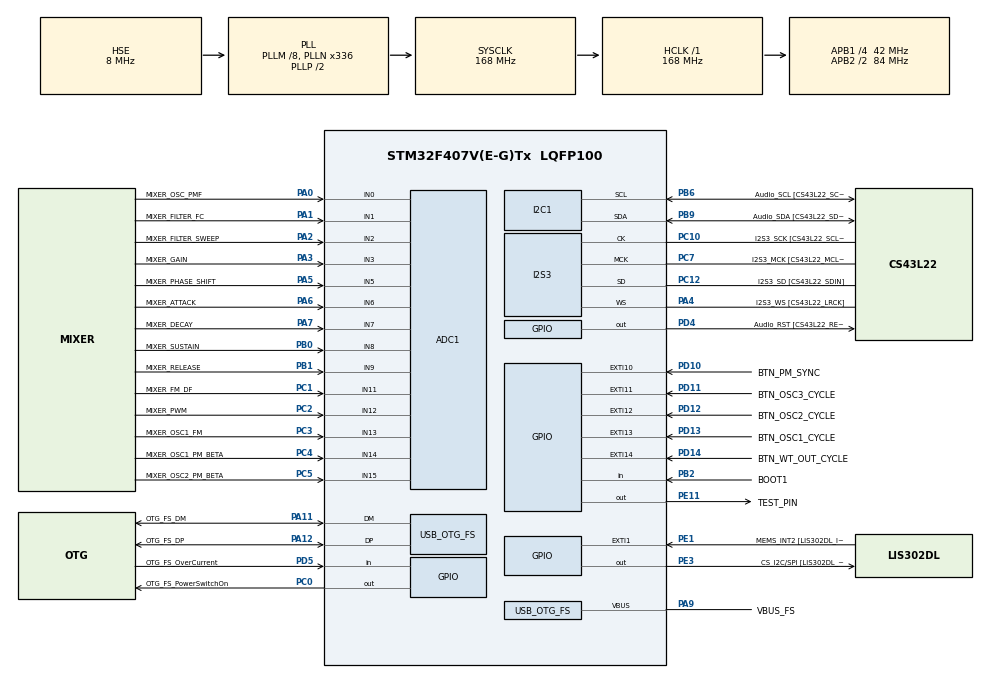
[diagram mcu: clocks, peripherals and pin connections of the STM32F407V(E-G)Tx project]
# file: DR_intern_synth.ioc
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ADC1.Channel-0\#ChannelRegularConversion=ADC_CHANNEL_1
ADC1.Channel-1\#ChannelRegularConversion=ADC_CHANNEL_2
ADC1.Channel-10\#ChannelRegularConversion=ADC_CHANNEL_13
ADC1.Channel-11\#ChannelRegularConversion=ADC_CHANNEL_14
ADC1.Channel-12\#ChannelRegularConversion=ADC_CHANNEL_15
ADC1.Channel-13\#ChannelRegularConversion=ADC_CHANNEL_0
ADC1.Channel-2\#ChannelRegularConversion=ADC_CHANNEL_3
ADC1.Channel-3\#ChannelRegularConversion=ADC_CHANNEL_5
ADC1.Channel-4\#ChannelRegularConversion=ADC_CHANNEL_6
ADC1.Channel-5\#ChannelRegularConversion=ADC_CHANNEL_7
ADC1.Channel-6\#ChannelRegularConversion=ADC_CHANNEL_8
ADC1.Channel-7\#ChannelRegularConversion=ADC_CHANNEL_9
ADC1.Channel-8\#ChannelRegularConversion=ADC_CHANNEL_11
ADC1.Channel-9\#ChannelRegularConversion=ADC_CHANNEL_12
ADC1.DMAContinuousRequests=ENABLE
ADC1.ExternalTrigConv=ADC_EXTERNALTRIGCONV_T3_TRGO
ADC1.NbrOfConversion=14
ADC1.NbrOfConversionFlag=1
ADC1.Rank-0\#ChannelRegularConversion=1
ADC1.Rank-1\#ChannelRegularConversion=2
ADC1.Rank-10\#ChannelRegularConversion=11
ADC1.Rank-11\#ChannelRegularConversion=12
ADC1.Rank-12\#ChannelRegularConversion=13
ADC1.Rank-13\#ChannelRegularConversion=14
ADC1.Rank-2\#ChannelRegularConversion=3
ADC1.Rank-3\#ChannelRegularConversion=4
ADC1.Rank-4\#ChannelRegularConversion=5
ADC1.Rank-5\#ChannelRegularConversion=6
ADC1.Rank-6\#ChannelRegularConversion=7
ADC1.Rank-7\#ChannelRegularConversion=8
ADC1.Rank-8\#ChannelRegularConversion=9
ADC1.Rank-9\#ChannelRegularConversion=10
ADC1.SamplingTime-0\#ChannelRegularConversion=ADC_SAMPLETIME_3CYCLES
ADC1.SamplingTime-1\#ChannelRegularConversion=ADC_SAMPLETIME_3CYCLES
ADC1.SamplingTime-10\#ChannelRegularConversion=ADC_SAMPLETIME_3CYCLES
ADC1.SamplingTime-11\#ChannelRegularConversion=ADC_SAMPLETIME_3CYCLES
ADC1.SamplingTime-12\#ChannelRegularConversion=ADC_SAMPLETIME_3CYCLES
ADC1.SamplingTime-13\#ChannelRegularConversion=ADC_SAMPLETIME_3CYCLES
ADC1.SamplingTime-2\#ChannelRegularConversion=ADC_SAMPLETIME_3CYCLES
ADC1.SamplingTime-3\#ChannelRegularConversion=ADC_SAMPLETIME_3CYCLES
ADC1.SamplingTime-4\#ChannelRegularConversion=ADC_SAMPLETIME_3CYCLES
ADC1.SamplingTime-5\#ChannelRegularConversion=ADC_SAMPLETIME_3CYCLES
ADC1.SamplingTime-6\#ChannelRegularConversion=ADC_SAMPLETIME_3CYCLES
ADC1.SamplingTime-7\#ChannelRegularConversion=ADC_SAMPLETIME_3CYCLES
ADC1.SamplingTime-8\#ChannelRegularConversion=ADC_SAMPLETIME_3CYCLES
ADC1.SamplingTime-9\#ChannelRegularConversion=ADC_SAMPLETIME_3CYCLES
ADC1.ScanConvMode=ENABLE
ADC1.master=1
Dma.ADC1.1.Direction=DMA_PERIPH_TO_MEMORY
Dma.ADC1.1.FIFOMode=DMA_FIFOMODE_DISABLE
Dma.ADC1.1.Instance=DMA2_Stream0
Dma.ADC1.1.MemDataAlignment=DMA_MDATAALIGN_HALFWORD
Dma.ADC1.1.MemInc=DMA_MINC_ENABLE
Dma.ADC1.1.Mode=DMA_CIRCULAR
Dma.ADC1.1.PeriphDataAlignment=DMA_PDATAALIGN_HALFWORD
Dma.ADC1.1.PeriphInc=DMA_PINC_DISABLE
Dma.ADC1.1.Priority=DMA_PRIORITY_LOW
Dma.Request0=SPI3_TX
Dma.Request1=ADC1
Dma.SPI3_TX.0.Direction=DMA_MEMORY_TO_PERIPH
Dma.SPI3_TX.0.FIFOMode=DMA_FIFOMODE_DISABLE
Dma.SPI3_TX.0.Instance=DMA1_Stream5
Dma.SPI3_TX.0.MemDataAlignment=DMA_MDATAALIGN_HALFWORD
Dma.SPI3_TX.0.MemInc=DMA_MINC_ENABLE
Dma.SPI3_TX.0.Mode=DMA_CIRCULAR
Dma.SPI3_TX.0.PeriphDataAlignment=DMA_PDATAALIGN_HALFWORD
Dma.SPI3_TX.0.PeriphInc=DMA_PINC_DISABLE
Dma.SPI3_TX.0.Priority=DMA_PRIORITY_LOW
I2S3.AudioFreq=I2S_AUDIOFREQ_22K
I2S3.AudioFreq-Half_Duplex_Master=I2S_AUDIOFREQ_96K
I2S3.ErrorAudioFreq=0.11 %
I2S3.ErrorAudioFreq-Half_Duplex_Master=0.8 %
I2S3.FullDuplexMode=I2S_FULLDUPLEXMODE_DISABLE
I2S3.Instance=SPI$Index
I2S3.RealAudioFreq=22.026 KHz
I2S3.RealAudioFreq-Half_Duplex_Master=96.774 KHz
I2S3.VirtualMode=I2S_MODE_MASTER
Mcu.Family=STM32F4
Mcu.Name=STM32F407V(E-G)Tx
Mcu.Package=LQFP100
NVIC.ADC_IRQn=true\:0\:0\:false\:false\:true\:true\:true\:true
NVIC.DMA1_Stream5_IRQn=true\:0\:0\:false\:false\:true\:false\:true\:true
NVIC.DMA2_Stream0_IRQn=true\:0\:0\:false\:false\:true\:false\:true\:true
NVIC.EXTI15_10_IRQn=true\:0\:0\:false\:false\:true\:true\:true\:true
NVIC.OTG_FS_IRQn=true\:0\:0\:false\:false\:true\:true\:true\:true
NVIC.PriorityGroup=NVIC_PRIORITYGROUP_0
NVIC.SPI3_IRQn=true\:0\:0\:false\:false\:true\:true\:true\:true
NVIC.TIM3_IRQn=true\:0\:0\:false\:false\:true\:true\:true\:true
NVIC.TIM7_IRQn=true\:0\:0\:false\:false\:true\:true\:true\:true
PA0-WKUP.GPIO_Label=MIXER_OSC_PMF
PA0-WKUP.Signal=ADCx_IN0
PA1.GPIO_Label=MIXER_FILTER_FC
PA1.Signal=ADCx_IN1
PA10.GPIO_Label=OTG_FS_ID
PA10.GPIO_Mode=GPIO_MODE_AF_PP
PA10.GPIO_PuPd=GPIO_NOPULL
PA10.GPIO_Speed=GPIO_SPEED_FREQ_LOW
PA10.Signal=USB_OTG_FS_ID
PA11.GPIO_Label=OTG_FS_DM
PA11.GPIO_Mode=GPIO_MODE_AF_PP
PA11.GPIO_PuPd=GPIO_NOPULL
PA11.GPIO_Speed=GPIO_SPEED_FREQ_LOW
PA11.Mode=Host_Only
PA11.Signal=USB_OTG_FS_DM
PA12.GPIO_Label=OTG_FS_DP
PA12.GPIO_Mode=GPIO_MODE_AF_PP
PA12.GPIO_PuPd=GPIO_NOPULL
PA12.GPIO_Speed=GPIO_SPEED_FREQ_LOW
PA12.Mode=Host_Only
PA12.Signal=USB_OTG_FS_DP
PA13.GPIO_Label=SWDIO
PA13.Mode=Serial_Wire
PA13.Signal=SYS_JTMS-SWDIO
PA14.GPIO_Label=SWCLK
PA14.Mode=Serial_Wire
PA14.Signal=SYS_JTCK-SWCLK
PA2.GPIO_Label=MIXER_FILTER_SWEEP
PA2.Signal=ADCx_IN2
PA3.GPIO_Label=MIXER_GAIN
PA3.Signal=ADCx_IN3
PA4.GPIO_Label=I2S3_WS [CS43L22_LRCK]
PA4.GPIO_Mode=GPIO_MODE_AF_PP
PA4.GPIO_PuPd=GPIO_NOPULL
PA4.GPIO_Speed=GPIO_SPEED_FREQ_LOW
PA4.Mode=Half_Duplex_Master
PA4.Signal=I2S3_WS
PA5.GPIO_Label=MIXER_PHASE_SHIFT
PA5.Signal=ADCx_IN5
PA6.GPIO_Label=MIXER_ATTACK
PA6.Signal=ADCx_IN6
PA7.GPIO_Label=MIXER_DECAY
PA7.Signal=ADCx_IN7
PA9.GPIO_Label=VBUS_FS
PA9.GPIO_Mode=GPIO_MODE_INPUT
PA9.GPIO_PuPd=GPIO_NOPULL
PA9.Mode=Activate_VBUS
PA9.Signal=USB_OTG_FS_VBUS
PB0.GPIO_Label=MIXER_SUSTAIN
PB0.Signal=ADCx_IN8
PB1.GPIO_Label=MIXER_RELEASE
PB1.Signal=ADCx_IN9
PB10.GPIO_Label=CLK_IN [MP45DT02_CLK]
PB10.GPIO_Mode=GPIO_MODE_AF_PP
PB10.GPIO_PuPd=GPIO_NOPULL
PB10.GPIO_Speed=GPIO_SPEED_FREQ_LOW
PB10.Signal=I2S2_CK
PB2.GPIO_Label=BOOT1
PB2.GPIO_Mode=GPIO_MODE_INPUT
PB2.GPIO_PuPd=GPIO_NOPULL
PB2.Signal=GPIO_Input
PB3.GPIO_Label=SWO
PB3.Signal=SYS_JTDO-SWO
PB6.GPIO_Label=Audio_SCL [CS43L22_SCL]
PB6.GPIO_Mode=GPIO_MODE_AF_OD
PB6.GPIO_Pu=GPIO_PULLUP
PB6.GPIO_PuPd=GPIO_NOPULL
PB6.GPIO_Speed=GPIO_SPEED_FREQ_LOW
PB6.Mode=I2C
PB6.Signal=I2C1_SCL
PB9.GPIO_Label=Audio_SDA [CS43L22_SDA]
PB9.GPIO_Mode=GPIO_MODE_AF_OD
PB9.GPIO_Pu=GPIO_PULLUP
PB9.GPIO_PuPd=GPIO_NOPULL
PB9.GPIO_Speed=GPIO_SPEED_FREQ_LOW
PB9.Mode=I2C
PB9.Signal=I2C1_SDA
PC0.GPIO_Label=OTG_FS_PowerSwitchOn
PC0.GPIO_PuPd=GPIO_NOPULL
PC0.GPIO_Speed=GPIO_SPEED_FREQ_LOW
PC0.PinState=GPIO_PIN_SET
PC0.Signal=GPIO_Output
PC1.GPIO_Label=MIXER_FM_DF
PC1.Signal=ADCx_IN11
PC10.GPIO_Label=I2S3_SCK [CS43L22_SCLK]
PC10.GPIO_Mode=GPIO_MODE_AF_PP
PC10.GPIO_PuPd=GPIO_NOPULL
PC10.GPIO_Speed=GPIO_SPEED_FREQ_LOW
PC10.Mode=Half_Duplex_Master
PC10.Signal=I2S3_CK
PC12.GPIO_Label=I2S3_SD [CS43L22_SDIN]
PC12.GPIO_Mode=GPIO_MODE_AF_PP
PC12.GPIO_PuPd=GPIO_NOPULL
PC12.GPIO_Speed=GPIO_SPEED_FREQ_LOW
PC12.Mode=Half_Duplex_Master
PC12.Signal=I2S3_SD
PC14-OSC32_IN.GPIO_Label=PC14-OSC32_IN
PC14-OSC32_IN.Mode=LSE-External-Oscillator
PC14-OSC32_IN.Signal=RCC_OSC32_IN
PC15-OSC32_OUT.GPIO_Label=PC15-OSC32_OUT
PC15-OSC32_OUT.Mode=LSE-External-Oscillator
PC15-OSC32_OUT.Signal=RCC_OSC32_OUT
PC2.GPIO_Label=MIXER_PWM
PC2.Signal=ADCx_IN12
PC3.GPIO_Label=MIXER_OSC1_FM
PC3.Signal=ADCx_IN13
PC4.GPIO_Label=MIXER_OSC1_PM_BETA
PC4.Signal=ADCx_IN14
PC5.GPIO_Label=MIXER_OSC2_PM_BETA
PC5.Signal=ADCx_IN15
PC7.GPIO_Label=I2S3_MCK [CS43L22_MCLK]
PC7.GPIO_Mode=GPIO_MODE_AF_PP
PC7.GPIO_PuPd=GPIO_NOPULL
PC7.GPIO_Speed=GPIO_SPEED_FREQ_LOW
PC7.Mode=Master_Clock_Activated
PC7.Signal=I2S3_MCK
PD10.GPIO_Label=BTN_PM_SYNC
PD10.GPIO_PuPd=GPIO_PULLUP
PD10.Signal=GPXTI10
PD11.GPIO_Label=BTN_OSC3_CYCLE
PD11.GPIO_ModeDefaultEXTI=GPIO_MODE_IT_FALLING
PD11.GPIO_PuPd=GPIO_PULLUP
PD11.Signal=GPXTI11
PD12.GPIO_Label=BTN_OSC2_CYCLE
PD12.GPIO_ModeDefaultEXTI=GPIO_MODE_IT_FALLING
PD12.GPIO_PuPd=GPIO_PULLUP
PD12.Signal=GPXTI12
PD13.GPIO_Label=BTN_OSC1_CYCLE
PD13.GPIO_ModeDefaultEXTI=GPIO_MODE_IT_FALLING
PD13.GPIO_PuPd=GPIO_PULLUP
PD13.Signal=GPXTI13
PD14.GPIO_Label=BTN_WT_OUT_CYCLE
PD14.GPIO_ModeDefaultEXTI=GPIO_MODE_IT_FALLING
PD14.GPIO_PuPd=GPIO_PULLUP
PD14.Signal=GPXTI14
PD4.GPIO_Label=Audio_RST [CS43L22_RESET]
PD4.GPIO_PuPd=GPIO_NOPULL
PD4.GPIO_Speed=GPIO_SPEED_FREQ_LOW
PD4.Signal=GPIO_Output
PD5.GPIO_Label=OTG_FS_OverCurrent
PD5.GPIO_Mode=GPIO_MODE_INPUT
PD5.GPIO_PuPd=GPIO_NOPULL
PD5.Signal=GPIO_Input
PE1.GPIO_Label=MEMS_INT2 [LIS302DL_INT2]
PE1.GPIO_ModeDefaultEXTI=GPIO_MODE_EVT_RISING
PE1.GPIO_PuPd=GPIO_NOPULL
PE1.Signal=GPXTI1
PE11.GPIO_Label=TEST_PIN
PE11.Signal=GPIO_Output
PE3.GPIO_Label=CS_I2C/SPI [LIS302DL_CS_I2C/SPI]
PE3.GPIO_PuPd=GPIO_NOPULL
PE3.GPIO_Speed=GPIO_SPEED_FREQ_LOW
PE3.Signal=GPIO_Output
PH0-OSC_IN.GPIO_Label=PH0-OSC_IN
PH0-OSC_IN.Mode=HSE-External-Oscillator
PH0-OSC_IN.Signal=RCC_OSC_IN
PH1-OSC_OUT.GPIO_Label=PH1-OSC_OUT
PH1-OSC_OUT.Mode=HSE-External-Oscillator
PH1-OSC_OUT.Signal=RCC_OSC_OUT
ProjectManager.HeapSize=0x200
ProjectManager.StackSize=0x400
ProjectManager.TargetToolchain=STM32CubeIDE
RCC.48MHZClocksFreq_Value=48000000
RCC.AHBFreq_Value=168000000
RCC.APB1CLKDivider=RCC_HCLK_DIV4
RCC.APB1Freq_Value=42000000
RCC.APB1TimFreq_Value=84000000
RCC.APB2CLKDivider=RCC_HCLK_DIV2
RCC.APB2Freq_Value=84000000
RCC.APB2TimFreq_Value=168000000
RCC.CortexFreq_Value=168000000
RCC.HCLKFreq_Value=168000000
RCC.HSE_VALUE=8000000
RCC.HSI_VALUE=16000000
RCC.PLLI2SN=203
RCC.PLLM=8
RCC.PLLN=336
RCC.PLLQ=7
RCC.SYSCLKFreq_VALUE=168000000
RCC.SYSCLKSource=RCC_SYSCLKSOURCE_PLLCLK
RCC.VCOOutputFreq_Value=336000000
SH.ADCx_IN0.0=ADC1_IN0,IN0
SH.ADCx_IN1.0=ADC1_IN1,IN1
SH.ADCx_IN11.0=ADC1_IN11,IN11
SH.ADCx_IN12.0=ADC1_IN12,IN12
SH.ADCx_IN13.0=ADC1_IN13,IN13
SH.ADCx_IN14.0=ADC1_IN14,IN14
SH.ADCx_IN15.0=ADC1_IN15,IN15
SH.ADCx_IN2.0=ADC1_IN2,IN2
SH.ADCx_IN3.0=ADC1_IN3,IN3
SH.ADCx_IN5.0=ADC1_IN5,IN5
SH.ADCx_IN6.0=ADC1_IN6,IN6
SH.ADCx_IN7.0=ADC1_IN7,IN7
SH.ADCx_IN8.0=ADC1_IN8,IN8
SH.ADCx_IN9.0=ADC1_IN9,IN9
TIM3.Channel-Output\ Compare1\ No\ Output=TIM_CHANNEL_1
TIM3.Prescaler=8
TIM3.TIM_MasterOutputTrigger=TIM_TRGO_UPDATE
TIM7.Period=200-1
TIM7.Prescaler=168-1
TIM7.TIM_MasterOutputTrigger=TIM_TRGO_UPDATE
USB_HOST.BSP.number=1
USB_HOST.USBH_HandleTypeDef-AUDIO_FS=hUsbHostFS
USB_HOST.USBH_MAX_NUM_ENDPOINTS-AUDIO_FS=2
USB_HOST.USBH_MAX_NUM_INTERFACES-AUDIO_FS=1
USB_HOST.VirtualModeFS=Audio
USB_HOST0.BSP.STBoard=false
USB_HOST0.BSP.api=Unknown
USB_HOST0.BSP.instance=PC0
USB_HOST0.BSP.ip=GPIO
USB_HOST0.BSP.mode=Output
USB_HOST0.BSP.name=Drive_VBUS_FS
USB_HOST0.BSP.solution=PC0
USB_OTG_FS.VirtualMode=Host_Only
USB_OTG_FS.phy_itface=HCD_PHY_EMBEDDED
VP_TIM3_VS_no_output1.Mode=Output Compare1 No Output
VP_TIM7_VS_ClockSourceINT.Mode=Enable_Timer
VP_USB_HOST_VS_USB_HOST_AUDIO_FS.Mode=AUDIO_FS
board=STM32F407G-DISC1

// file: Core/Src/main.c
/* USER CODE BEGIN Header */
/**
 ******************************************************************************
 * @file           : main.c
 * @brief          : Main program body
 ******************************************************************************
 * @attention
 *
 * Copyright (c) 2022 STMicroelectronics.
 * All rights reserved.
 *
 * This software is licensed under terms that can be found in the LICENSE file
 * in the root directory of this software component.
 * If no LICENSE file comes with this software, it is provided AS-IS.
 *
 ******************************************************************************
 */
/* USER CODE END Header */
#include "main.h"
#include "usb_host.h"

/* USER CODE BEGIN Includes */

#include "usb_host.h"
#include "wavetable.h"
#include "MY_CS43L22.h"
#include "filter.h"
#include "modulator.h"
#include "usbh_MIDI.h"
#include "MIDI_application.h"
#include "output_handler.h"
#include "envelope.h"

/* USER CODE END Includes */

/* USER CODE BEGIN PD */
#define REF_V_ANALOG 			2.90
#define N_SAMPLES 				255
//#define USB_ENDPOINT_DESC_SIZE	0x09U //ignore warning, needed for MIDI compatibility
/* USER CODE END PD */

ADC_HandleTypeDef hadc1;
DMA_HandleTypeDef hdma_adc1;

I2C_HandleTypeDef hi2c1;

I2S_HandleTypeDef hi2s3;
DMA_HandleTypeDef hdma_spi3_tx;

TIM_HandleTypeDef htim3;
TIM_HandleTypeDef htim7;

/* USER CODE BEGIN PV */

#define I2S_OUT_N N_WT_SAMPLES

#define I2S_OUT_NHALF N_WT_SAMPLES>>1
uint16_t i2s_out[I2S_OUT_N];

bool i2s_tx_cplt = false;
bool i2s_tx_half = false;

/* USER CODE END PV */

void SystemClock_Config(void);
static void MX_GPIO_Init(void);
static void MX_DMA_Init(void);
static void MX_TIM3_Init(void);
static void MX_TIM7_Init(void);
void MX_USB_HOST_Process(void);

int main(void)
{
  /* USER CODE BEGIN 1 */

	//	float output = 0;
  /* USER CODE END 1 */

  /* MCU Configuration--------------------------------------------------------*/

  /* Reset of all peripherals, Initializes the Flash interface and the Systick. */
  HAL_Init();

  /* Configure the system clock */
  SystemClock_Config();

  /* Initialize all configured peripherals */
  MX_GPIO_Init();
  MX_DMA_Init();
  MX_I2C1_Init();
  MX_USB_HOST_Init();
  MX_ADC1_Init();
  MX_I2S3_Init();
  MX_TIM3_Init();
  MX_TIM7_Init();
  /* USER CODE BEGIN 2 */

	CS43_Init(hi2c1, MODE_I2S);
	CS43_Enable_RightLeft(CS43_RIGHT_LEFT);
	CS43_SetVolume(1);
	CS43_Start();

	wavetable_init_all();

	HAL_StatusTypeDef tx_init_status = HAL_I2S_Transmit_DMA(&hi2s3, (uint16_t*)i2s_out, N_WT_SAMPLES);

	HAL_GPIO_TogglePin(GPIOC, GPIO_PIN_0);

	mixer_init(&hadc1, &htim3);

	filter_lp_RC_init(1, DELTA_T_DEFAULT);

	filter_hp_RC_init(1, DELTA_T_DEFAULT);

	filter_res_init();

	output_handler_init();

	ws_enum wave_shape;

	while(env_update_ADSR()) {
		//wait for ADSR
	}

  /* USER CODE END 2 */

  /* Infinite loop */
	while (1)
	{
    MX_USB_HOST_Process();

    /* USER CODE BEGIN 3 */
	MIDI_Application();
	MIDI_update_input(output_handler_get_steps());

		if (i2s_tx_half) {
			wave_shape = mixer_get_waveshape_out();

			if (wave_shape == SINE) {
				output_handler_outwave_update(i2s_out, 0, I2S_OUT_NHALF, wavetable_get_ptr(SINE));
			}
			else if (wave_shape == SQUARE) {
				output_handler_outwave_update(i2s_out, 0, I2S_OUT_NHALF, wavetable_get_ptr(SQUARE));
			}
			else if (wave_shape == TRIANGLE) {
				output_handler_outwave_update(i2s_out, 0, I2S_OUT_NHALF, wavetable_get_ptr(TRIANGLE));
			}
			else if (wave_shape == SAWTOOTH) {
				output_handler_outwave_update(i2s_out, 0, I2S_OUT_NHALF, wavetable_get_ptr(SAWTOOTH));
			}
			i2s_tx_half = false;
		}

		else if (i2s_tx_cplt) {
			wave_shape = mixer_get_waveshape_out();

			if (wave_shape == SINE) {
				output_handler_outwave_update(i2s_out, I2S_OUT_NHALF, I2S_OUT_N, wavetable_get_ptr(SINE));
			}
			else if (wave_shape == SQUARE) {
				output_handler_outwave_update(i2s_out, I2S_OUT_NHALF, I2S_OUT_N, wavetable_get_ptr(SQUARE));
			}
			else if (wave_shape == TRIANGLE) {
				output_handler_outwave_update(i2s_out, I2S_OUT_NHALF, I2S_OUT_N, wavetable_get_ptr(TRIANGLE));
			}
			else if (wave_shape == SAWTOOTH) {
				output_handler_outwave_update(i2s_out, I2S_OUT_NHALF, I2S_OUT_N, wavetable_get_ptr(SAWTOOTH));
			}
			i2s_tx_cplt = false;
		} else {
			filter_update(); //NOTE: Filter needs to update BEFORE mixer
			mixer_update();
			env_update_ADSR();
		}

	}
  /* USER CODE END 3 */
}

void SystemClock_Config(void)
{
  RCC_OscInitTypeDef RCC_OscInitStruct = {0};
  RCC_ClkInitTypeDef RCC_ClkInitStruct = {0};

  /** Configure the main internal regulator output voltage
  */
  __HAL_RCC_PWR_CLK_ENABLE();
  __HAL_PWR_VOLTAGESCALING_CONFIG(PWR_REGULATOR_VOLTAGE_SCALE1);

  /** Initializes the RCC Oscillators according to the specified parameters
  * in the RCC_OscInitTypeDef structure.
  */
  RCC_OscInitStruct.OscillatorType = RCC_OSCILLATORTYPE_HSE;
  RCC_OscInitStruct.HSEState = RCC_HSE_ON;
  RCC_OscInitStruct.PLL.PLLState = RCC_PLL_ON;
  RCC_OscInitStruct.PLL.PLLSource = RCC_PLLSOURCE_HSE;
  RCC_OscInitStruct.PLL.PLLM = 8;
  RCC_OscInitStruct.PLL.PLLN = 336;
  RCC_OscInitStruct.PLL.PLLP = RCC_PLLP_DIV2;
  RCC_OscInitStruct.PLL.PLLQ = 7;
  if (HAL_RCC_OscConfig(&RCC_OscInitStruct) != HAL_OK)
  {
    Error_Handler();
  }

  /** Initializes the CPU, AHB and APB buses clocks
  */
  RCC_ClkInitStruct.ClockType = RCC_CLOCKTYPE_HCLK|RCC_CLOCKTYPE_SYSCLK
                              |RCC_CLOCKTYPE_PCLK1|RCC_CLOCKTYPE_PCLK2;
  RCC_ClkInitStruct.SYSCLKSource = RCC_SYSCLKSOURCE_PLLCLK;
  RCC_ClkInitStruct.AHBCLKDivider = RCC_SYSCLK_DIV1;
  RCC_ClkInitStruct.APB1CLKDivider = RCC_HCLK_DIV4;
  RCC_ClkInitStruct.APB2CLKDivider = RCC_HCLK_DIV2;

  if (HAL_RCC_ClockConfig(&RCC_ClkInitStruct, FLASH_LATENCY_5) != HAL_OK)
  {
    Error_Handler();
  }
}

void MX_ADC1_Init(void)
{

  ADC_ChannelConfTypeDef sConfig = {0};

  /** Configure the global features of the ADC (Clock, Resolution, Data Alignment and number of conversion)
  */
  hadc1.Instance = ADC1;
  hadc1.Init.ClockPrescaler = ADC_CLOCK_SYNC_PCLK_DIV4;
  hadc1.Init.Resolution = ADC_RESOLUTION_12B;
  hadc1.Init.ScanConvMode = ENABLE;
  hadc1.Init.ContinuousConvMode = DISABLE;
  hadc1.Init.DiscontinuousConvMode = DISABLE;
  hadc1.Init.ExternalTrigConvEdge = ADC_EXTERNALTRIGCONVEDGE_RISING;
  hadc1.Init.ExternalTrigConv = ADC_EXTERNALTRIGCONV_T3_TRGO;
  hadc1.Init.DataAlign = ADC_DATAALIGN_RIGHT;
  hadc1.Init.NbrOfConversion = 14;
  hadc1.Init.DMAContinuousRequests = ENABLE;
  hadc1.Init.EOCSelection = ADC_EOC_SINGLE_CONV;
  if (HAL_ADC_Init(&hadc1) != HAL_OK)
  {
    Error_Handler();
  }

  /** Configure for the selected ADC regular channel its corresponding rank in the sequencer and its sample time.
  */
  sConfig.Channel = ADC_CHANNEL_1;
  sConfig.Rank = 1;
  sConfig.SamplingTime = ADC_SAMPLETIME_3CYCLES;
  if (HAL_ADC_ConfigChannel(&hadc1, &sConfig) != HAL_OK)
  {
    Error_Handler();
  }

  /** Configure for the selected ADC regular channel its corresponding rank in the sequencer and its sample time.
  */
  sConfig.Channel = ADC_CHANNEL_2;
  sConfig.Rank = 2;
  if (HAL_ADC_ConfigChannel(&hadc1, &sConfig) != HAL_OK)
  {
    Error_Handler();
  }

  /** Configure for the selected ADC regular channel its corresponding rank in the sequencer and its sample time.
  */
  sConfig.Channel = ADC_CHANNEL_3;
  sConfig.Rank = 3;
  if (HAL_ADC_ConfigChannel(&hadc1, &sConfig) != HAL_OK)
  {
    Error_Handler();
  }

  /** Configure for the selected ADC regular channel its corresponding rank in the sequencer and its sample time.
  */
  sConfig.Channel = ADC_CHANNEL_5;
  sConfig.Rank = 4;
  if (HAL_ADC_ConfigChannel(&hadc1, &sConfig) != HAL_OK)
  {
    Error_Handler();
  }

  /** Configure for the selected ADC regular channel its corresponding rank in the sequencer and its sample time.
  */
  sConfig.Channel = ADC_CHANNEL_6;
  sConfig.Rank = 5;
  if (HAL_ADC_ConfigChannel(&hadc1, &sConfig) != HAL_OK)
  {
    Error_Handler();
  }

  /** Configure for the selected ADC regular channel its corresponding rank in the sequencer and its sample time.
  */
  sConfig.Channel = ADC_CHANNEL_7;
  sConfig.Rank = 6;
  if (HAL_ADC_ConfigChannel(&hadc1, &sConfig) != HAL_OK)
  {
    Error_Handler();
  }

  /** Configure for the selected ADC regular channel its corresponding rank in the sequencer and its sample time.
  */
  sConfig.Channel = ADC_CHANNEL_8;
  sConfig.Rank = 7;
  if (HAL_ADC_ConfigChannel(&hadc1, &sConfig) != HAL_OK)
  {
    Error_Handler();
  }

  /** Configure for the selected ADC regular channel its corresponding rank in the sequencer and its sample time.
  */
  sConfig.Channel = ADC_CHANNEL_9;
  sConfig.Rank = 8;
  if (HAL_ADC_ConfigChannel(&hadc1, &sConfig) != HAL_OK)
  {
    Error_Handler();
  }

  /** Configure for the selected ADC regular channel its corresponding rank in the sequencer and its sample time.
  */
  sConfig.Channel = ADC_CHANNEL_11;
  sConfig.Rank = 9;
  if (HAL_ADC_ConfigChannel(&hadc1, &sConfig) != HAL_OK)
  {
    Error_Handler();
  }

  /** Configure for the selected ADC regular channel its corresponding rank in the sequencer and its sample time.
  */
  sConfig.Channel = ADC_CHANNEL_12;
  sConfig.Rank = 10;
  if (HAL_ADC_ConfigChannel(&hadc1, &sConfig) != HAL_OK)
  {
    Error_Handler();
  }

  /** Configure for the selected ADC regular channel its corresponding rank in the sequencer and its sample time.
  */
  sConfig.Channel = ADC_CHANNEL_13;
  sConfig.Rank = 11;
  if (HAL_ADC_ConfigChannel(&hadc1, &sConfig) != HAL_OK)
  {
    Error_Handler();
  }

  /** Configure for the selected ADC regular channel its corresponding rank in the sequencer and its sample time.
  */
  sConfig.Channel = ADC_CHANNEL_14;
  sConfig.Rank = 12;
  if (HAL_ADC_ConfigChannel(&hadc1, &sConfig) != HAL_OK)
  {
    Error_Handler();
  }

  /** Configure for the selected ADC regular channel its corresponding rank in the sequencer and its sample time.
  */
  sConfig.Channel = ADC_CHANNEL_15;
  sConfig.Rank = 13;
  if (HAL_ADC_ConfigChannel(&hadc1, &sConfig) != HAL_OK)
  {
    Error_Handler();
  }

  /** Configure for the selected ADC regular channel its corresponding rank in the sequencer and its sample time.
  */
  sConfig.Channel = ADC_CHANNEL_0;
  sConfig.Rank = 14;
  if (HAL_ADC_ConfigChannel(&hadc1, &sConfig) != HAL_OK)
  {
    Error_Handler();
  }

}

void MX_I2C1_Init(void)
{

  hi2c1.Instance = I2C1;
  hi2c1.Init.ClockSpeed = 100000;
  hi2c1.Init.DutyCycle = I2C_DUTYCYCLE_2;
  hi2c1.Init.OwnAddress1 = 0;
  hi2c1.Init.AddressingMode = I2C_ADDRESSINGMODE_7BIT;
  hi2c1.Init.DualAddressMode = I2C_DUALADDRESS_DISABLE;
  hi2c1.Init.OwnAddress2 = 0;
  hi2c1.Init.GeneralCallMode = I2C_GENERALCALL_DISABLE;
  hi2c1.Init.NoStretchMode = I2C_NOSTRETCH_DISABLE;
  if (HAL_I2C_Init(&hi2c1) != HAL_OK)
  {
    Error_Handler();
  }

}

void MX_I2S3_Init(void)
{

  hi2s3.Instance = SPI3;
  hi2s3.Init.Mode = I2S_MODE_MASTER_TX;
  hi2s3.Init.Standard = I2S_STANDARD_PHILIPS;
  hi2s3.Init.DataFormat = I2S_DATAFORMAT_16B;
  hi2s3.Init.MCLKOutput = I2S_MCLKOUTPUT_ENABLE;
  hi2s3.Init.AudioFreq = I2S_AUDIOFREQ_22K;
  hi2s3.Init.CPOL = I2S_CPOL_LOW;
  hi2s3.Init.ClockSource = I2S_CLOCK_PLL;
  hi2s3.Init.FullDuplexMode = I2S_FULLDUPLEXMODE_DISABLE;
  if (HAL_I2S_Init(&hi2s3) != HAL_OK)
  {
    Error_Handler();
  }

}

static void MX_TIM3_Init(void)
{

  TIM_MasterConfigTypeDef sMasterConfig = {0};
  TIM_OC_InitTypeDef sConfigOC = {0};

  htim3.Instance = TIM3;
  htim3.Init.Prescaler = 8;
  htim3.Init.CounterMode = TIM_COUNTERMODE_UP;
  htim3.Init.Period = 65535;
  htim3.Init.ClockDivision = TIM_CLOCKDIVISION_DIV1;
  htim3.Init.AutoReloadPreload = TIM_AUTORELOAD_PRELOAD_DISABLE;
  if (HAL_TIM_OC_Init(&htim3) != HAL_OK)
  {
    Error_Handler();
  }
  sMasterConfig.MasterOutputTrigger = TIM_TRGO_UPDATE;
  sMasterConfig.MasterSlaveMode = TIM_MASTERSLAVEMODE_DISABLE;
  if (HAL_TIMEx_MasterConfigSynchronization(&htim3, &sMasterConfig) != HAL_OK)
  {
    Error_Handler();
  }
  sConfigOC.OCMode = TIM_OCMODE_TIMING;
  sConfigOC.Pulse = 0;
  sConfigOC.OCPolarity = TIM_OCPOLARITY_HIGH;
  sConfigOC.OCFastMode = TIM_OCFAST_DISABLE;
  if (HAL_TIM_OC_ConfigChannel(&htim3, &sConfigOC, TIM_CHANNEL_1) != HAL_OK)
  {
    Error_Handler();
  }

}

static void MX_TIM7_Init(void)
{

  TIM_MasterConfigTypeDef sMasterConfig = {0};

  htim7.Instance = TIM7;
  htim7.Init.Prescaler = 168-1;
  htim7.Init.CounterMode = TIM_COUNTERMODE_UP;
  htim7.Init.Period = 200-1;
  htim7.Init.AutoReloadPreload = TIM_AUTORELOAD_PRELOAD_DISABLE;
  if (HAL_TIM_Base_Init(&htim7) != HAL_OK)
  {
    Error_Handler();
  }
  sMasterConfig.MasterOutputTrigger = TIM_TRGO_UPDATE;
  sMasterConfig.MasterSlaveMode = TIM_MASTERSLAVEMODE_DISABLE;
  if (HAL_TIMEx_MasterConfigSynchronization(&htim7, &sMasterConfig) != HAL_OK)
  {
    Error_Handler();
  }

}

static void MX_DMA_Init(void)
{

  /* DMA controller clock enable */
  __HAL_RCC_DMA1_CLK_ENABLE();
  __HAL_RCC_DMA2_CLK_ENABLE();

  /* DMA interrupt init */
  /* DMA1_Stream5_IRQn interrupt configuration */
  HAL_NVIC_SetPriority(DMA1_Stream5_IRQn, 0, 0);
  HAL_NVIC_EnableIRQ(DMA1_Stream5_IRQn);
  /* DMA2_Stream0_IRQn interrupt configuration */
  HAL_NVIC_SetPriority(DMA2_Stream0_IRQn, 0, 0);
  HAL_NVIC_EnableIRQ(DMA2_Stream0_IRQn);

}

static void MX_GPIO_Init(void)
{
  GPIO_InitTypeDef GPIO_InitStruct = {0};

  /* GPIO Ports Clock Enable */
  __HAL_RCC_GPIOE_CLK_ENABLE();
  __HAL_RCC_GPIOC_CLK_ENABLE();
  __HAL_RCC_GPIOH_CLK_ENABLE();
  __HAL_RCC_GPIOA_CLK_ENABLE();
  __HAL_RCC_GPIOB_CLK_ENABLE();
  __HAL_RCC_GPIOD_CLK_ENABLE();

  /*Configure GPIO pin Output Level */
  HAL_GPIO_WritePin(GPIOE, CS_I2C_SPI_Pin|TEST_PIN_Pin, GPIO_PIN_RESET);

  /*Configure GPIO pin Output Level */
  HAL_GPIO_WritePin(OTG_FS_PowerSwitchOn_GPIO_Port, OTG_FS_PowerSwitchOn_Pin, GPIO_PIN_SET);

  /*Configure GPIO pin Output Level */
  HAL_GPIO_WritePin(Audio_RST_GPIO_Port, Audio_RST_Pin, GPIO_PIN_RESET);

  /*Configure GPIO pins : CS_I2C_SPI_Pin TEST_PIN_Pin */
  GPIO_InitStruct.Pin = CS_I2C_SPI_Pin|TEST_PIN_Pin;
  GPIO_InitStruct.Mode = GPIO_MODE_OUTPUT_PP;
  GPIO_InitStruct.Pull = GPIO_NOPULL;
  GPIO_InitStruct.Speed = GPIO_SPEED_FREQ_LOW;
  HAL_GPIO_Init(GPIOE, &GPIO_InitStruct);

  /*Configure GPIO pin : OTG_FS_PowerSwitchOn_Pin */
  GPIO_InitStruct.Pin = OTG_FS_PowerSwitchOn_Pin;
  GPIO_InitStruct.Mode = GPIO_MODE_OUTPUT_PP;
  GPIO_InitStruct.Pull = GPIO_NOPULL;
  GPIO_InitStruct.Speed = GPIO_SPEED_FREQ_LOW;
  HAL_GPIO_Init(OTG_FS_PowerSwitchOn_GPIO_Port, &GPIO_InitStruct);

  /*Configure GPIO pin : BOOT1_Pin */
  GPIO_InitStruct.Pin = BOOT1_Pin;
  GPIO_InitStruct.Mode = GPIO_MODE_INPUT;
  GPIO_InitStruct.Pull = GPIO_NOPULL;
  HAL_GPIO_Init(BOOT1_GPIO_Port, &GPIO_InitStruct);

  /*Configure GPIO pin : CLK_IN_Pin */
  GPIO_InitStruct.Pin = CLK_IN_Pin;
  GPIO_InitStruct.Mode = GPIO_MODE_AF_PP;
  GPIO_InitStruct.Pull = GPIO_NOPULL;
  GPIO_InitStruct.Speed = GPIO_SPEED_FREQ_LOW;
  GPIO_InitStruct.Alternate = GPIO_AF5_SPI2;
  HAL_GPIO_Init(CLK_IN_GPIO_Port, &GPIO_InitStruct);

  /*Configure GPIO pin : BTN_PM_SYNC_Pin */
  GPIO_InitStruct.Pin = BTN_PM_SYNC_Pin;
  GPIO_InitStruct.Mode = GPIO_MODE_IT_RISING;
  GPIO_InitStruct.Pull = GPIO_PULLUP;
  HAL_GPIO_Init(BTN_PM_SYNC_GPIO_Port, &GPIO_InitStruct);

  /*Configure GPIO pins : BTN_OSC3_CYCLE_Pin BTN_OSC2_CYCLE_Pin BTN_OSC1_CYCLE_Pin BTN_WT_OUT_CYCLE_Pin */
  GPIO_InitStruct.Pin = BTN_OSC3_CYCLE_Pin|BTN_OSC2_CYCLE_Pin|BTN_OSC1_CYCLE_Pin|BTN_WT_OUT_CYCLE_Pin;
  GPIO_InitStruct.Mode = GPIO_MODE_IT_FALLING;
  GPIO_InitStruct.Pull = GPIO_PULLUP;
  HAL_GPIO_Init(GPIOD, &GPIO_InitStruct);

  /*Configure GPIO pin : Audio_RST_Pin */
  GPIO_InitStruct.Pin = Audio_RST_Pin;
  GPIO_InitStruct.Mode = GPIO_MODE_OUTPUT_PP;
  GPIO_InitStruct.Pull = GPIO_NOPULL;
  GPIO_InitStruct.Speed = GPIO_SPEED_FREQ_LOW;
  HAL_GPIO_Init(Audio_RST_GPIO_Port, &GPIO_InitStruct);

  /*Configure GPIO pin : OTG_FS_OverCurrent_Pin */
  GPIO_InitStruct.Pin = OTG_FS_OverCurrent_Pin;
  GPIO_InitStruct.Mode = GPIO_MODE_INPUT;
  GPIO_InitStruct.Pull = GPIO_NOPULL;
  HAL_GPIO_Init(OTG_FS_OverCurrent_GPIO_Port, &GPIO_InitStruct);

  /*Configure GPIO pin : MEMS_INT2_Pin */
  GPIO_InitStruct.Pin = MEMS_INT2_Pin;
  GPIO_InitStruct.Mode = GPIO_MODE_EVT_RISING;
  GPIO_InitStruct.Pull = GPIO_NOPULL;
  HAL_GPIO_Init(MEMS_INT2_GPIO_Port, &GPIO_InitStruct);

  /* EXTI interrupt init*/
  HAL_NVIC_SetPriority(EXTI15_10_IRQn, 0, 0);
  HAL_NVIC_EnableIRQ(EXTI15_10_IRQn);

}

/* USER CODE BEGIN 4 */

//void HAL_TIM_PeriodElapsedCallback(TIM_HandleTypeDef* htim) {
//	if (htim == &htim3)
//		HAL_GPIO_TogglePin(TEST_PIN_GPIO_Port, TEST_PIN_Pin);
//}

void HAL_I2S_TxHalfCpltCallback(I2S_HandleTypeDef* hi2s) {
	if (hi2s == &hi2s3) {
		i2s_tx_half = true;
	}
}

void HAL_I2S_TxCpltCallback(I2S_HandleTypeDef* hi2s) {
	if (hi2s == &hi2s3) {
		i2s_tx_cplt = true;
	}
}

//void HAL_GPIO_EXTI_Callback(uint16_t GPIO_Pin) {
//	if (GPIO_Pin == BUTTON_WAVE_CYCLE_Pin && !cycle_waveshape_flag && !debounce_flag) {
//		//		cycle_waveshape_flag = true;
//		debounce_flag = true;
//		cycle_waveshape_flag = true;
//		key_pressed = true;
//	}
//}

/* USER CODE END 4 */

void Error_Handler(void)
{
	__disable_irq();
	while (1)
	{
	}
}
